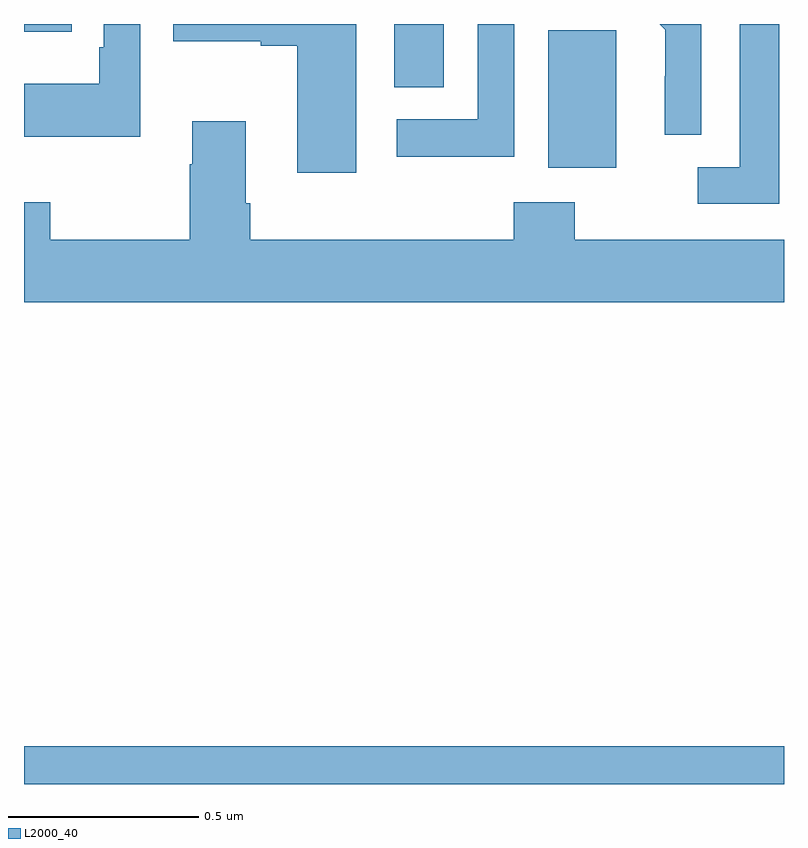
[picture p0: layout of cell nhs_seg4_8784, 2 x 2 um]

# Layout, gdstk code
import gdstk
lib = gdstk.Library(unit=1e-6, precision=1e-09)
def R(c, l, rs):  # rectangles x0, y0, x1, y1
    for r in rs: c.add(gdstk.rectangle(r[:2], r[2:], *l))
def P(c, l, *ps):  # polygons
    for p in ps: c.add(gdstk.Polygon(p, *l))
L2000_40 = (2000, 40)

nhs_seg4_8784 = lib.new_cell('nhs_seg4_8784')
R(nhs_seg4_8784, L2000_40, [(219,780.9,221,781), (220.379,782.522,220.558,782.883), (219.974,782.734,220.105,782.9), (219,782.879,219.125,782.9)])
P(nhs_seg4_8784, L2000_40, [(219.874,782.9),(219.393,782.9),(219.393,782.855),(219.623,782.855),(219.623,782.843),(219.719,782.843),(219.719,782.508),(219.874,782.508)],
  [(220.987,782.9),(220.883,782.9),(220.883,782.523),(220.773,782.523),(220.773,782.427),(220.987,782.427)],
  [(220.29,782.9),(220.194,782.9),(220.194,782.649),(219.981,782.649),(219.981,782.551),(220.29,782.551)],
  [(220.782,782.9),(220.673,782.9),(220.688,782.885),(220.688,782.762),(220.686,782.762),(220.686,782.608),(220.782,782.608)],
  [(219.306,782.9),(219.21,782.9),(219.21,782.839),(219.198,782.839),(219.198,782.743),(219,782.743),(219,782.603),(219.306,782.603)],
  [(221,782.332),(220.449,782.332),(220.449,782.431),(220.289,782.431),(220.289,782.332),(219.596,782.332),(219.596,782.428),(219.583,782.428),(219.583,782.644),(219.443,782.644),(219.443,782.531),(219.436,782.531),(219.436,782.332),(219.069,782.332),(219.069,782.431),(219,782.431),(219,782.168),(221,782.168)])

lib.write_gds('nhs_seg4_8784.gds')
